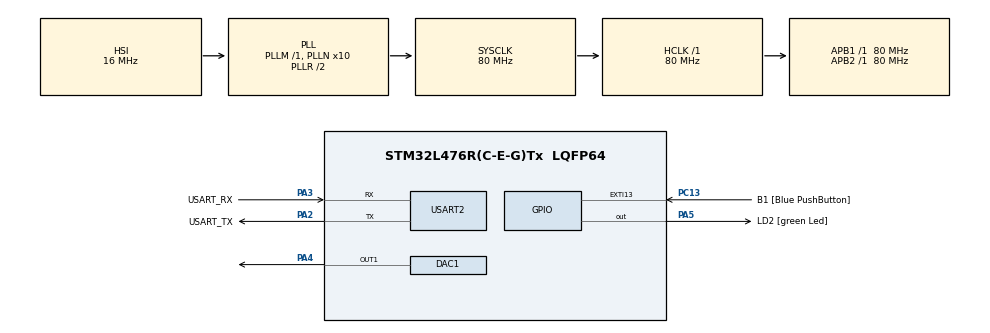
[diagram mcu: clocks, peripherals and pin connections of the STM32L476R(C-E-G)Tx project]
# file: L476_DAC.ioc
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DAC1.DAC_Trigger-DAC_OUT1=DAC_TRIGGER_T4_TRGO
Dma.DAC_CH1.0.Direction=DMA_MEMORY_TO_PERIPH
Dma.DAC_CH1.0.Instance=DMA1_Channel3
Dma.DAC_CH1.0.MemDataAlignment=DMA_MDATAALIGN_HALFWORD
Dma.DAC_CH1.0.MemInc=DMA_MINC_ENABLE
Dma.DAC_CH1.0.Mode=DMA_NORMAL
Dma.DAC_CH1.0.PeriphDataAlignment=DMA_PDATAALIGN_HALFWORD
Dma.DAC_CH1.0.PeriphInc=DMA_PINC_DISABLE
Dma.DAC_CH1.0.Priority=DMA_PRIORITY_LOW
Dma.Request0=DAC_CH1
Mcu.Family=STM32L4
Mcu.Name=STM32L476R(C-E-G)Tx
Mcu.Package=LQFP64
NVIC.DMA1_Channel3_IRQn=true\:0\:0\:false\:false\:true\:false\:true
NVIC.PriorityGroup=NVIC_PRIORITYGROUP_4
PA13\ (JTMS-SWDIO).GPIO_Label=TMS
PA13\ (JTMS-SWDIO).Mode=Serial_Wire
PA13\ (JTMS-SWDIO).Signal=SYS_JTMS-SWDIO
PA14\ (JTCK-SWCLK).GPIO_Label=TCK
PA14\ (JTCK-SWCLK).Mode=Serial_Wire
PA14\ (JTCK-SWCLK).Signal=SYS_JTCK-SWCLK
PA2.GPIO_Label=USART_TX
PA2.GPIO_Mode=GPIO_MODE_AF_PP
PA2.GPIO_PuPd=GPIO_NOPULL
PA2.GPIO_Speed=GPIO_SPEED_FREQ_VERY_HIGH
PA2.Mode=Asynchronous
PA2.Signal=USART2_TX
PA3.GPIO_Label=USART_RX
PA3.GPIO_Mode=GPIO_MODE_AF_PP
PA3.GPIO_PuPd=GPIO_NOPULL
PA3.GPIO_Speed=GPIO_SPEED_FREQ_VERY_HIGH
PA3.Mode=Asynchronous
PA3.Signal=USART2_RX
PA4.Signal=COMP_DAC11_group
PA5.GPIO_Label=LD2 [green Led]
PA5.GPIO_ModeDefaultOutputPP=GPIO_MODE_OUTPUT_PP
PA5.GPIO_PuPd=GPIO_NOPULL
PA5.GPIO_Speed=GPIO_SPEED_FREQ_LOW
PA5.Signal=GPIO_Output
PB3\ (JTDO-TRACESWO).GPIO_Label=SWO
PB3\ (JTDO-TRACESWO).Signal=SYS_JTDO-SWO
PC13.GPIO_Label=B1 [Blue PushButton]
PC13.GPIO_ModeDefaultEXTI=GPIO_MODE_IT_FALLING
PC13.GPIO_PuPd=GPIO_NOPULL
PC13.Signal=GPXTI13
PC14-OSC32_IN\ (PC14).Mode=LSE-External-Oscillator
PC14-OSC32_IN\ (PC14).Signal=RCC_OSC32_IN
PC15-OSC32_OUT\ (PC15).Mode=LSE-External-Oscillator
PC15-OSC32_OUT\ (PC15).Signal=RCC_OSC32_OUT
PH0-OSC_IN\ (PH0).Signal=RCC_OSC_IN
PH1-OSC_OUT\ (PH1).Signal=RCC_OSC_OUT
ProjectManager.HeapSize=0x200
ProjectManager.StackSize=0x400
ProjectManager.TargetToolchain=STM32CubeIDE
RCC.ADCFreq_Value=64000000
RCC.AHBFreq_Value=80000000
RCC.APB1Freq_Value=80000000
RCC.APB1TimFreq_Value=80000000
RCC.APB2Freq_Value=80000000
RCC.APB2TimFreq_Value=80000000
RCC.CortexFreq_Value=80000000
RCC.HCLKFreq_Value=80000000
RCC.HSE_VALUE=8000000
RCC.HSI_VALUE=16000000
RCC.MSI_VALUE=4000000
RCC.PLLN=10
RCC.PLLSourceVirtual=RCC_PLLSOURCE_HSI
RCC.PREFETCH_ENABLE=1
RCC.SYSCLKFreq_VALUE=80000000
RCC.SYSCLKSource=RCC_SYSCLKSOURCE_PLLCLK
RCC.USBFreq_Value=64000000
RCC.VCOOutputFreq_Value=160000000
SH.COMP_DAC11_group.0=DAC1_OUT1,DAC_OUT1
TIM4.Period=3628
TIM4.TIM_MasterOutputTrigger=TIM_TRGO_UPDATE
USART2.VirtualMode-Asynchronous=VM_ASYNC
VP_TIM4_VS_ClockSourceINT.Mode=Internal
board=NUCLEO-L476RG

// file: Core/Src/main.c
/* USER CODE BEGIN Header */
/**
 ******************************************************************************
 * @file           : main.c
 * @brief          : Main program body
 ******************************************************************************
 * @attention
 *
 * <h2><center>&copy; Copyright (c) 2020 STMicroelectronics.
 * All rights reserved.</center></h2>
 *
 * This software component is licensed by ST under BSD 3-Clause license,
 * the "License"; You may not use this file except in compliance with the
 * License. You may obtain a copy of the License at:
 *                        opensource.org/licenses/BSD-3-Clause
 *
 ******************************************************************************
 */
/* USER CODE END Header */
#include "main.h"

/* USER CODE BEGIN Includes */
#include <math.h>
#include <string.h>
/* USER CODE END Includes */

/* USER CODE BEGIN PD */
#define BUFFERSIZE 2048
#define MIN(a,b) (((a)<(b))? (a):(b))

/* USER CODE END PD */

DAC_HandleTypeDef hdac1;
DMA_HandleTypeDef hdma_dac_ch1;

TIM_HandleTypeDef htim4;

UART_HandleTypeDef huart2;

void SystemClock_Config(void);
static void MX_GPIO_Init(void);
static void MX_DMA_Init(void);
static void MX_USART2_UART_Init(void);
static void MX_DAC1_Init(void);
static void MX_TIM4_Init(void);

/* USER CODE BEGIN 0 */

extern uint8_t *__USER_DATA;
uint8_t flg_dma_done;

/* USER CODE END 0 */

int main(void)
{

  /* MCU Configuration--------------------------------------------------------*/

  /* Reset of all peripherals, Initializes the Flash interface and the Systick. */
  HAL_Init();

  /* Configure the system clock */
  SystemClock_Config();

  /* Initialize all configured peripherals */
  MX_GPIO_Init();
  MX_DMA_Init();
  MX_USART2_UART_Init();
  MX_DAC1_Init();
  MX_TIM4_Init();
  /* USER CODE BEGIN 2 */

	HAL_TIM_Base_Start(&htim4);

	uint8_t *p = (uint8_t *)&__USER_DATA;
	p += 4;
	p += 4;
	p += 4;
	p += 4;
	p += 4;
	p += 2;
	p += 2;
	p += 4;
	p += 4;
	p += 2;
	p += 2;
	p += 4;

	uint32_t samples = *p + (*(p+1) * 256)  + (*(p+2) * 256 * 256)  + (*(p+3) * 256 * 256 * 256);
	samples /= 2;
	p += 4;

  /* USER CODE END 2 */

  /* Infinite loop */
  /* USER CODE BEGIN WHILE */
	while (1)
	{

		if (HAL_GPIO_ReadPin(B1_GPIO_Port, B1_Pin) == GPIO_PIN_RESET) {
			// beep
			int16_t *pp = (int16_t *)p;
			uint16_t dmaBuf[2][BUFFERSIZE];
			int bank = 0;

			flg_dma_done = 1;
			int count = samples;
			while (0 < count) {
				const int blksize = MIN(samples, BUFFERSIZE);

				for(int i=0; i< blksize; i++) {
					int16_t v0 = *pp;
					pp++;
					int32_t v = v0;
					v >>= 4;
					v += 2047;

					dmaBuf[bank][i] = v & 0x0fff;
				}

				// wait for DMA complete
				while(!flg_dma_done) {
					__NOP();
				}

				flg_dma_done = 0;
				HAL_DAC_Start_DMA(&hdac1, DAC_CHANNEL_1, (uint32_t*)dmaBuf[bank], blksize, DAC_ALIGN_12B_R);

				bank = !bank;
				count -= blksize;
			}

			HAL_DAC_Stop_DMA(&hdac1, DAC_CHANNEL_1);

		}

    /* USER CODE END WHILE */

	}
}

void SystemClock_Config(void)
{
  RCC_OscInitTypeDef RCC_OscInitStruct = {0};
  RCC_ClkInitTypeDef RCC_ClkInitStruct = {0};
  RCC_PeriphCLKInitTypeDef PeriphClkInit = {0};

  /** Initializes the RCC Oscillators according to the specified parameters
  * in the RCC_OscInitTypeDef structure.
  */
  RCC_OscInitStruct.OscillatorType = RCC_OSCILLATORTYPE_HSI;
  RCC_OscInitStruct.HSIState = RCC_HSI_ON;
  RCC_OscInitStruct.HSICalibrationValue = RCC_HSICALIBRATION_DEFAULT;
  RCC_OscInitStruct.PLL.PLLState = RCC_PLL_ON;
  RCC_OscInitStruct.PLL.PLLSource = RCC_PLLSOURCE_HSI;
  RCC_OscInitStruct.PLL.PLLM = 1;
  RCC_OscInitStruct.PLL.PLLN = 10;
  RCC_OscInitStruct.PLL.PLLP = RCC_PLLP_DIV7;
  RCC_OscInitStruct.PLL.PLLQ = RCC_PLLQ_DIV2;
  RCC_OscInitStruct.PLL.PLLR = RCC_PLLR_DIV2;
  if (HAL_RCC_OscConfig(&RCC_OscInitStruct) != HAL_OK)
  {
    Error_Handler();
  }
  /** Initializes the CPU, AHB and APB buses clocks
  */
  RCC_ClkInitStruct.ClockType = RCC_CLOCKTYPE_HCLK|RCC_CLOCKTYPE_SYSCLK
                              |RCC_CLOCKTYPE_PCLK1|RCC_CLOCKTYPE_PCLK2;
  RCC_ClkInitStruct.SYSCLKSource = RCC_SYSCLKSOURCE_PLLCLK;
  RCC_ClkInitStruct.AHBCLKDivider = RCC_SYSCLK_DIV1;
  RCC_ClkInitStruct.APB1CLKDivider = RCC_HCLK_DIV1;
  RCC_ClkInitStruct.APB2CLKDivider = RCC_HCLK_DIV1;

  if (HAL_RCC_ClockConfig(&RCC_ClkInitStruct, FLASH_LATENCY_4) != HAL_OK)
  {
    Error_Handler();
  }
  PeriphClkInit.PeriphClockSelection = RCC_PERIPHCLK_USART2;
  PeriphClkInit.Usart2ClockSelection = RCC_USART2CLKSOURCE_PCLK1;
  if (HAL_RCCEx_PeriphCLKConfig(&PeriphClkInit) != HAL_OK)
  {
    Error_Handler();
  }
  /** Configure the main internal regulator output voltage
  */
  if (HAL_PWREx_ControlVoltageScaling(PWR_REGULATOR_VOLTAGE_SCALE1) != HAL_OK)
  {
    Error_Handler();
  }
}

static void MX_DAC1_Init(void)
{

  DAC_ChannelConfTypeDef sConfig = {0};

  /** DAC Initialization
  */
  hdac1.Instance = DAC1;
  if (HAL_DAC_Init(&hdac1) != HAL_OK)
  {
    Error_Handler();
  }
  /** DAC channel OUT1 config
  */
  sConfig.DAC_SampleAndHold = DAC_SAMPLEANDHOLD_DISABLE;
  sConfig.DAC_Trigger = DAC_TRIGGER_T4_TRGO;
  sConfig.DAC_OutputBuffer = DAC_OUTPUTBUFFER_ENABLE;
  sConfig.DAC_ConnectOnChipPeripheral = DAC_CHIPCONNECT_DISABLE;
  sConfig.DAC_UserTrimming = DAC_TRIMMING_FACTORY;
  if (HAL_DAC_ConfigChannel(&hdac1, &sConfig, DAC_CHANNEL_1) != HAL_OK)
  {
    Error_Handler();
  }

}

static void MX_TIM4_Init(void)
{

  TIM_ClockConfigTypeDef sClockSourceConfig = {0};
  TIM_MasterConfigTypeDef sMasterConfig = {0};

  htim4.Instance = TIM4;
  htim4.Init.Prescaler = 0;
  htim4.Init.CounterMode = TIM_COUNTERMODE_UP;
  htim4.Init.Period = 3628;
  htim4.Init.ClockDivision = TIM_CLOCKDIVISION_DIV1;
  htim4.Init.AutoReloadPreload = TIM_AUTORELOAD_PRELOAD_DISABLE;
  if (HAL_TIM_Base_Init(&htim4) != HAL_OK)
  {
    Error_Handler();
  }
  sClockSourceConfig.ClockSource = TIM_CLOCKSOURCE_INTERNAL;
  if (HAL_TIM_ConfigClockSource(&htim4, &sClockSourceConfig) != HAL_OK)
  {
    Error_Handler();
  }
  sMasterConfig.MasterOutputTrigger = TIM_TRGO_UPDATE;
  sMasterConfig.MasterSlaveMode = TIM_MASTERSLAVEMODE_DISABLE;
  if (HAL_TIMEx_MasterConfigSynchronization(&htim4, &sMasterConfig) != HAL_OK)
  {
    Error_Handler();
  }

}

static void MX_USART2_UART_Init(void)
{

  huart2.Instance = USART2;
  huart2.Init.BaudRate = 115200;
  huart2.Init.WordLength = UART_WORDLENGTH_8B;
  huart2.Init.StopBits = UART_STOPBITS_1;
  huart2.Init.Parity = UART_PARITY_NONE;
  huart2.Init.Mode = UART_MODE_TX_RX;
  huart2.Init.HwFlowCtl = UART_HWCONTROL_NONE;
  huart2.Init.OverSampling = UART_OVERSAMPLING_16;
  huart2.Init.OneBitSampling = UART_ONE_BIT_SAMPLE_DISABLE;
  huart2.AdvancedInit.AdvFeatureInit = UART_ADVFEATURE_NO_INIT;
  if (HAL_UART_Init(&huart2) != HAL_OK)
  {
    Error_Handler();
  }

}

static void MX_DMA_Init(void)
{

  /* DMA controller clock enable */
  __HAL_RCC_DMA1_CLK_ENABLE();

  /* DMA interrupt init */
  /* DMA1_Channel3_IRQn interrupt configuration */
  HAL_NVIC_SetPriority(DMA1_Channel3_IRQn, 0, 0);
  HAL_NVIC_EnableIRQ(DMA1_Channel3_IRQn);

}

static void MX_GPIO_Init(void)
{
  GPIO_InitTypeDef GPIO_InitStruct = {0};

  /* GPIO Ports Clock Enable */
  __HAL_RCC_GPIOC_CLK_ENABLE();
  __HAL_RCC_GPIOH_CLK_ENABLE();
  __HAL_RCC_GPIOA_CLK_ENABLE();
  __HAL_RCC_GPIOB_CLK_ENABLE();

  /*Configure GPIO pin Output Level */
  HAL_GPIO_WritePin(LD2_GPIO_Port, LD2_Pin, GPIO_PIN_RESET);

  /*Configure GPIO pin : B1_Pin */
  GPIO_InitStruct.Pin = B1_Pin;
  GPIO_InitStruct.Mode = GPIO_MODE_IT_FALLING;
  GPIO_InitStruct.Pull = GPIO_NOPULL;
  HAL_GPIO_Init(B1_GPIO_Port, &GPIO_InitStruct);

  /*Configure GPIO pin : LD2_Pin */
  GPIO_InitStruct.Pin = LD2_Pin;
  GPIO_InitStruct.Mode = GPIO_MODE_OUTPUT_PP;
  GPIO_InitStruct.Pull = GPIO_NOPULL;
  GPIO_InitStruct.Speed = GPIO_SPEED_FREQ_LOW;
  HAL_GPIO_Init(LD2_GPIO_Port, &GPIO_InitStruct);

}

/* USER CODE BEGIN 4 */
void HAL_DAC_ConvCpltCallbackCh1(DAC_HandleTypeDef* hdac)
{
	flg_dma_done = 1;
}

/* USER CODE END 4 */

void Error_Handler(void)
{
}

/************************ (C) COPYRIGHT STMicroelectronics *****END OF FILE****/
